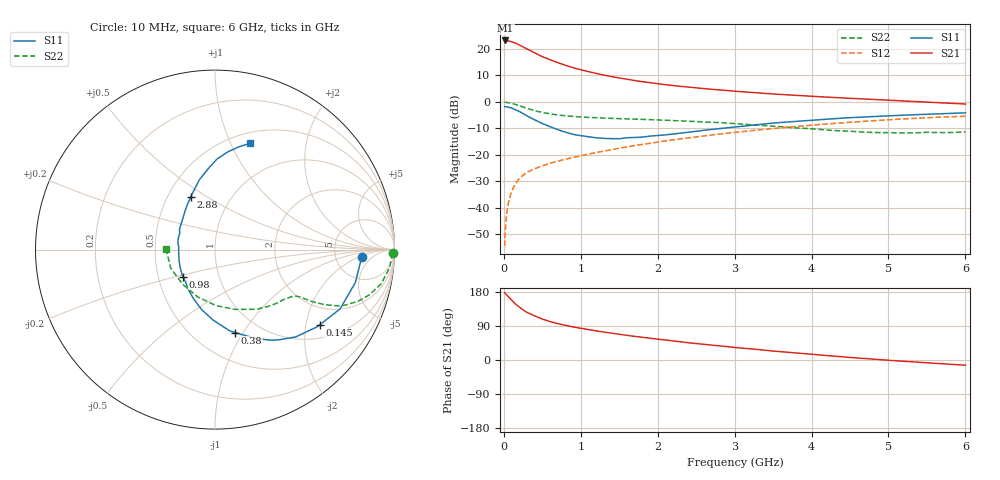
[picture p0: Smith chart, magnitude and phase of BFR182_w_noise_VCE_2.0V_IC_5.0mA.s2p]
! Infineon Technologies  Discrete & RF Semiconductors
! BFR182
! VCE =  2.0 V,  IC =  5.0 mA
! Common Emitter S-Parameters:  Nov 2015
# GHz  S  MA  R  50
!  f  S11  S21  S12  S22
! GHz  MAG  ANG  MAG  ANG  MAG  ANG  MAG  ANG
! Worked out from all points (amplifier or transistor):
!   210 points, 10 MHz to 6 GHz, reference 50 ohm
!   highest |S21| = 23.2 dB at 20 MHz (marker M1)
!   |S21| within 3 dB of that: start of sweep to 288.3 MHz
!   unconditionally stable (mu >= 1): 1.03 GHz to 2.803 GHz
!   at 185 MHz: K = 0.33, MSG = 25.6 dB, |S12| = -29.5 dB
!   at 1.52 GHz: K = 1.06, MAG = 11.7 dB, |S12| = -17.4 dB
!   at 6 GHz: K = 0.89, MSG = 2.3 dB, |S12| = -5.4 dB
!   lowest NFmin = 1.20 dB at 450 MHz
!   S11 on the Smith chart (normalised r, x): 10 MHz: 9.43, -2.19; 145 MHz: 1.38, -2.39; 380 MHz: 0.77, -0.92; 980 MHz: 0.67, -0.21; 2.88 GHz: 0.65, +0.42; 6 GHz: 0.61, +1.18
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0.01  0.8173 -2.7  14.39 177.9  0.0019 90.5  0.9902 -1.2
0.02  0.8126 -5.3  14.46 175.3  0.0041 85.6  0.9861 -2.5
0.05  0.8034 -13.2  14.36 168.8  0.0105 83.4  0.9765 -6.1
0.1  0.7716 -25.3  13.68 158.4  0.0202 77.1  0.9464 -11.5
0.145  0.7179 -35.8  12.99 148.8  0.0277 72.6  0.9017 -15.8
0.2  0.6622 -47.3  11.92 139.7  0.0356 68.0  0.8479 -19.8
0.26  0.5937 -58.2  10.74 131.0  0.0425 64.0  0.7921 -22.9
0.3  0.5466 -65.2  10.04 125.7  0.0471 62.9  0.7568 -24.5
0.38  0.4756 -76.3  8.753 118.4  0.0533 60.7  0.6978 -26.2
0.4  0.4612 -79.6  8.459 116.2  0.0549 60.2  0.6832 -26.7
0.5  0.3921 -91.7  7.144 108.0  0.062 59.4  0.6325 -27.8
0.6  0.3417 -102.8  6.247 101.5  0.0696 59.1  0.5963 -28.4
0.8  0.2694 -123.1  4.911 91.2  0.0829 59.5  0.5475 -29.0
0.98  0.2335 -140.0  4.112 84.3  0.0951 60.6  0.5226 -29.8
1.02  0.2286 -144.0  3.973 82.9  0.0978 60.8  0.5184 -30.0
1.4  0.2032 -177.5  3.002 70.6  0.1259 61.5  0.4903 -33.2
2.02  0.2337 145.2  2.187 54.6  0.1767 60.6  0.4574 -40.6
2.88  0.3219 114.9  1.649 35.7  0.2548 55.5  0.4014 -55.7
3.1  0.3478 110.0  1.556 31.4  0.2758 53.6  0.3818 -60.7
4.1  0.4629 93.4  1.256 13.4  0.3743 43.5  0.3027 -92.8
5.1  0.5561 81.4  1.061 -2.1  0.4702 31.1  0.2611 -138.0
6  0.6227 71.9  0.914 -13.8  0.5383 18.3  0.2719 179.7
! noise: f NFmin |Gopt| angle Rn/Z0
0.45  1.2  0.27  37  0.3
0.9  1.3  0.25  75  0.23
1.8  1.9  0.21  145  0.2
